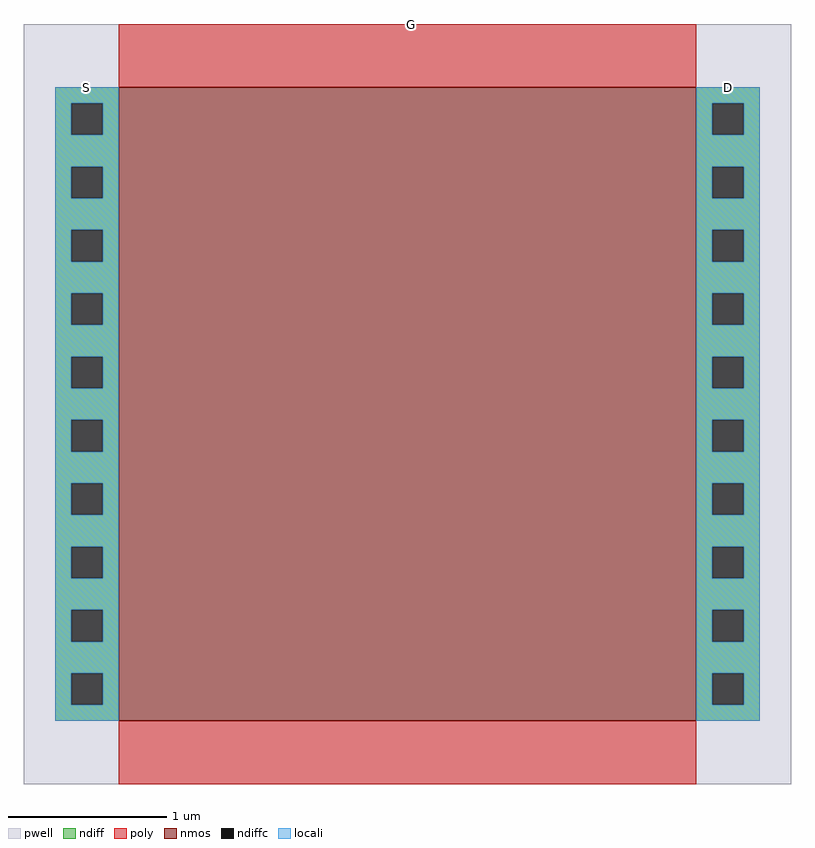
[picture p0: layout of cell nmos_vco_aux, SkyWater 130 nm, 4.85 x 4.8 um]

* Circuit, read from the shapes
.subckt nmos_vco_aux D G S
XM1 D G S VSUBS sky130_fd_pr__nfet_01v8 w=4 l=3.65
.ends

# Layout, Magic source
magic
tech sky130A
<< pwell >>
rect -60 -40 425 440
<< nmos >>
rect 0 0 365 400
<< ndiff >>
rect -40 390 0 400
rect -40 370 -30 390
rect -10 370 0 390
rect -40 350 0 370
rect -40 330 -30 350
rect -10 330 0 350
rect -40 310 0 330
rect -40 290 -30 310
rect -10 290 0 310
rect -40 270 0 290
rect -40 250 -30 270
rect -10 250 0 270
rect -40 230 0 250
rect -40 210 -30 230
rect -10 210 0 230
rect -40 190 0 210
rect -40 170 -30 190
rect -10 170 0 190
rect -40 150 0 170
rect -40 130 -30 150
rect -10 130 0 150
rect -40 110 0 130
rect -40 90 -30 110
rect -10 90 0 110
rect -40 70 0 90
rect -40 50 -30 70
rect -10 50 0 70
rect -40 30 0 50
rect -40 10 -30 30
rect -10 10 0 30
rect -40 0 0 10
rect 365 390 405 400
rect 365 370 375 390
rect 395 370 405 390
rect 365 350 405 370
rect 365 330 375 350
rect 395 330 405 350
rect 365 310 405 330
rect 365 290 375 310
rect 395 290 405 310
rect 365 270 405 290
rect 365 250 375 270
rect 395 250 405 270
rect 365 230 405 250
rect 365 210 375 230
rect 395 210 405 230
rect 365 190 405 210
rect 365 170 375 190
rect 395 170 405 190
rect 365 150 405 170
rect 365 130 375 150
rect 395 130 405 150
rect 365 110 405 130
rect 365 90 375 110
rect 395 90 405 110
rect 365 70 405 90
rect 365 50 375 70
rect 395 50 405 70
rect 365 30 405 50
rect 365 10 375 30
rect 395 10 405 30
rect 365 0 405 10
<< ndiffc >>
rect -30 370 -10 390
rect -30 330 -10 350
rect -30 290 -10 310
rect -30 250 -10 270
rect -30 210 -10 230
rect -30 170 -10 190
rect -30 130 -10 150
rect -30 90 -10 110
rect -30 50 -10 70
rect -30 10 -10 30
rect 375 370 395 390
rect 375 330 395 350
rect 375 290 395 310
rect 375 250 395 270
rect 375 210 395 230
rect 375 170 395 190
rect 375 130 395 150
rect 375 90 395 110
rect 375 50 395 70
rect 375 10 395 30
<< poly >>
rect 0 400 365 440
rect 0 -40 365 0
<< locali >>
rect -40 390 0 400
rect -40 370 -30 390
rect -10 370 0 390
rect -40 350 0 370
rect -40 330 -30 350
rect -10 330 0 350
rect -40 310 0 330
rect -40 290 -30 310
rect -10 290 0 310
rect -40 270 0 290
rect -40 250 -30 270
rect -10 250 0 270
rect -40 230 0 250
rect -40 210 -30 230
rect -10 210 0 230
rect -40 190 0 210
rect -40 170 -30 190
rect -10 170 0 190
rect -40 150 0 170
rect -40 130 -30 150
rect -10 130 0 150
rect -40 110 0 130
rect -40 90 -30 110
rect -10 90 0 110
rect -40 70 0 90
rect -40 50 -30 70
rect -10 50 0 70
rect -40 30 0 50
rect -40 10 -30 30
rect -10 10 0 30
rect -40 0 0 10
rect 365 390 405 400
rect 365 370 375 390
rect 395 370 405 390
rect 365 350 405 370
rect 365 330 375 350
rect 395 330 405 350
rect 365 310 405 330
rect 365 290 375 310
rect 395 290 405 310
rect 365 270 405 290
rect 365 250 375 270
rect 395 250 405 270
rect 365 230 405 250
rect 365 210 375 230
rect 395 210 405 230
rect 365 190 405 210
rect 365 170 375 190
rect 395 170 405 190
rect 365 150 405 170
rect 365 130 375 150
rect 395 130 405 150
rect 365 110 405 130
rect 365 90 375 110
rect 395 90 405 110
rect 365 70 405 90
rect 365 50 375 70
rect 395 50 405 70
rect 365 30 405 50
rect 365 10 375 30
rect 395 10 405 30
rect 365 0 405 10
<< labels >>
rlabel locali 385 400 385 400 1 D
port 1 n
rlabel poly 185 440 185 440 1 G
port 2 n
rlabel locali -20 400 -20 400 1 S
port 3 n
<< end >>
